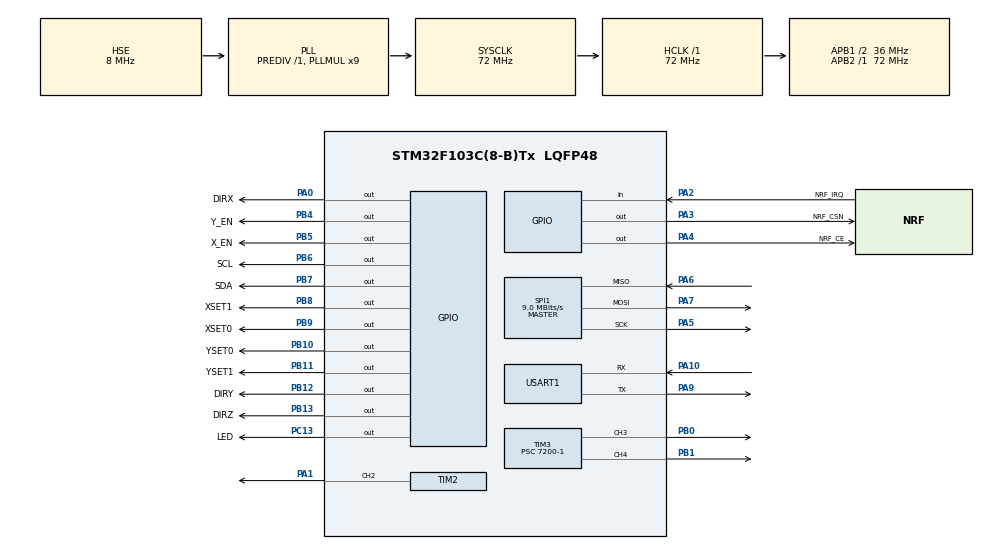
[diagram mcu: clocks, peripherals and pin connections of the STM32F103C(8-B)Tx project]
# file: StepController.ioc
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Dma.Request0=TIM3_CH3
Dma.Request1=TIM2_CH2/CH4
Dma.TIM2_CH2/CH4.1.Direction=DMA_MEMORY_TO_PERIPH
Dma.TIM2_CH2/CH4.1.Instance=DMA1_Channel7
Dma.TIM2_CH2/CH4.1.MemDataAlignment=DMA_MDATAALIGN_HALFWORD
Dma.TIM2_CH2/CH4.1.MemInc=DMA_MINC_ENABLE
Dma.TIM2_CH2/CH4.1.Mode=DMA_NORMAL
Dma.TIM2_CH2/CH4.1.PeriphDataAlignment=DMA_PDATAALIGN_HALFWORD
Dma.TIM2_CH2/CH4.1.PeriphInc=DMA_PINC_DISABLE
Dma.TIM2_CH2/CH4.1.Priority=DMA_PRIORITY_MEDIUM
Dma.TIM3_CH3.0.Direction=DMA_MEMORY_TO_PERIPH
Dma.TIM3_CH3.0.Instance=DMA1_Channel2
Dma.TIM3_CH3.0.MemDataAlignment=DMA_MDATAALIGN_HALFWORD
Dma.TIM3_CH3.0.MemInc=DMA_MINC_ENABLE
Dma.TIM3_CH3.0.Mode=DMA_NORMAL
Dma.TIM3_CH3.0.PeriphDataAlignment=DMA_PDATAALIGN_HALFWORD
Dma.TIM3_CH3.0.PeriphInc=DMA_PINC_DISABLE
Dma.TIM3_CH3.0.Priority=DMA_PRIORITY_MEDIUM
FREERTOS.Tasks01=defaultTask,0,64,StartDefaultTask,Default;myTask02,-3,128,StepControltask,Default;myTask03,-3,128,USARTtask,Default;myTask04,-3,128,NRFTask,Default
FREERTOS.configMINIMAL_STACK_SIZE=64
Mcu.Family=STM32F1
Mcu.Name=STM32F103C(8-B)Tx
Mcu.Package=LQFP48
NVIC.DMA1_Channel2_IRQn=true\:5\:0\:false\:false\:true\:true
NVIC.DMA1_Channel7_IRQn=true\:5\:0\:false\:false\:true\:true
NVIC.PriorityGroup=NVIC_PRIORITYGROUP_4
NVIC.SPI1_IRQn=true\:5\:0\:true\:false\:true\:true
NVIC.TIM1_UP_IRQn=true\:0\:0\:false\:false\:true\:false
NVIC.TIM2_IRQn=true\:5\:0\:true\:false\:true\:true
NVIC.TIM3_IRQn=true\:5\:0\:false\:false\:true\:true
NVIC.TimeBase=TIM1_UP_IRQn
NVIC.TimeBaseIP=TIM1
PA0-WKUP.GPIO_Label=DIRX
PA0-WKUP.Signal=GPIO_Output
PA1.Signal=S_TIM2_CH2
PA10.Mode=Asynchronous
PA10.Signal=USART1_RX
PA13.Mode=Serial_Wire
PA13.Signal=SYS_JTMS-SWDIO
PA14.Mode=Serial_Wire
PA14.Signal=SYS_JTCK-SWCLK
PA2.GPIO_Label=NRF_IRQ
PA2.GPIO_PuPd=GPIO_PULLUP
PA2.Signal=GPIO_Input
PA3.GPIO_Label=NRF_CSN
PA3.GPIO_Speed=GPIO_SPEED_FREQ_HIGH
PA3.PinState=GPIO_PIN_RESET
PA3.Signal=GPIO_Output
PA4.GPIO_Label=NRF_CE
PA4.Signal=GPIO_Output
PA5.Mode=Full_Duplex_Master
PA5.Signal=SPI1_SCK
PA6.Mode=Full_Duplex_Master
PA6.Signal=SPI1_MISO
PA7.Mode=Full_Duplex_Master
PA7.Signal=SPI1_MOSI
PA9.Mode=Asynchronous
PA9.Signal=USART1_TX
PB0.Signal=S_TIM3_CH3
PB1.Signal=S_TIM3_CH4
PB10.GPIO_Label=YSET0
PB10.Signal=GPIO_Output
PB11.GPIO_Label=YSET1
PB11.Signal=GPIO_Output
PB12.GPIO_Label=DIRY
PB12.Signal=GPIO_Output
PB13.GPIO_Label=DIRZ
PB13.Signal=GPIO_Output
PB4.GPIO_Label=Y_EN
PB4.Signal=GPIO_Output
PB5.GPIO_Label=X_EN
PB5.Signal=GPIO_Output
PB6.GPIO_Label=SCL
PB6.GPIO_Speed=GPIO_SPEED_FREQ_HIGH
PB6.PinState=GPIO_PIN_RESET
PB6.Signal=GPIO_Output
PB7.GPIO_Label=SDA
PB7.GPIO_Speed=GPIO_SPEED_FREQ_HIGH
PB7.Signal=GPIO_Output
PB8.GPIO_Label=XSET1
PB8.Signal=GPIO_Output
PB9.GPIO_Label=XSET0
PB9.Signal=GPIO_Output
PC13-TAMPER-RTC.GPIO_Label=LED
PC13-TAMPER-RTC.GPIO_Speed=GPIO_SPEED_FREQ_HIGH
PC13-TAMPER-RTC.Signal=GPIO_Output
PC14-OSC32_IN.Mode=LSE-External-Oscillator
PC14-OSC32_IN.Signal=RCC_OSC32_IN
PC15-OSC32_OUT.Mode=LSE-External-Oscillator
PC15-OSC32_OUT.Signal=RCC_OSC32_OUT
PD0-OSC_IN.Mode=HSE-External-Oscillator
PD0-OSC_IN.Signal=RCC_OSC_IN
PD1-OSC_OUT.Mode=HSE-External-Oscillator
PD1-OSC_OUT.Signal=RCC_OSC_OUT
ProjectManager.HeapSize=0x200
ProjectManager.StackSize=0x400
ProjectManager.TargetToolchain=MDK-ARM V5
RCC.AHBFreq_Value=72000000
RCC.APB1CLKDivider=RCC_HCLK_DIV2
RCC.APB1Freq_Value=36000000
RCC.APB1TimFreq_Value=72000000
RCC.APB2Freq_Value=72000000
RCC.APB2TimFreq_Value=72000000
RCC.HCLKFreq_Value=72000000
RCC.HSIState=RCC_HSI_ON
RCC.PLLMUL=RCC_PLL_MUL9
RCC.PLLSourceVirtual=RCC_PLLSOURCE_HSE
RCC.RCC_MCOSource=RCC_MCO1SOURCE_PLLCLK
RCC.SYSCLKFreq_VALUE=72000000
RCC.SYSCLKSource=RCC_SYSCLKSOURCE_PLLCLK
RCC.USBFreq_Value=72000000
SH.S_TIM2_CH2.0=TIM2_CH2,PWM Generation2 CH2
SH.S_TIM3_CH3.0=TIM3_CH3,PWM Generation3 CH3
SH.S_TIM3_CH4.0=TIM3_CH4,PWM Generation4 CH4
SPI1.BaudRatePrescaler=SPI_BAUDRATEPRESCALER_8
SPI1.CRCCalculation=SPI_CRCCALCULATION_ENABLE
SPI1.CalculateBaudRate=9.0 MBits/s
SPI1.Mode=SPI_MODE_MASTER
TIM2.Channel-PWM\ Generation2\ CH2=TIM_CHANNEL_2
TIM2.Period=2000-1
TIM2.Prescaler=7200-1
TIM2.Pulse-PWM\ Generation2\ CH2=1000
TIM3.Channel-PWM\ Generation3\ CH3=TIM_CHANNEL_3
TIM3.Channel-PWM\ Generation4\ CH4=TIM_CHANNEL_4
TIM3.Period=2000-1
TIM3.Prescaler=7200-1
TIM3.Pulse-PWM\ Generation3\ CH3=1000
TIM3.Pulse-PWM\ Generation4\ CH4=1000
VP_CRC_VS_CRC.Mode=CRC_Activate
VP_FREERTOS_VS_ENABLE.Mode=Enabled
VP_SYS_VS_tim1.Mode=TIM1
board=StepController

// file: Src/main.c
/**
  ******************************************************************************
  * File Name          : main.c
  * Description        : Main program body
  ******************************************************************************
  *
  * COPYRIGHT(c) 2016 STMicroelectronics
  *
  * Redistribution and use in source and binary forms, with or without modification,
  * are permitted provided that the following conditions are met:
  *   1. Redistributions of source code must retain the above copyright notice,
  *      this list of conditions and the following disclaimer.
  *   2. Redistributions in binary form must reproduce the above copyright notice,
  *      this list of conditions and the following disclaimer in the documentation
  *      and/or other materials provided with the distribution.
  *   3. Neither the name of STMicroelectronics nor the names of its contributors
  *      may be used to endorse or promote products derived from this software
  *      without specific prior written permission.
  *
  * THIS SOFTWARE IS PROVIDED BY THE COPYRIGHT HOLDERS AND CONTRIBUTORS "AS IS"
  * AND ANY EXPRESS OR IMPLIED WARRANTIES, INCLUDING, BUT NOT LIMITED TO, THE
  * IMPLIED WARRANTIES OF MERCHANTABILITY AND FITNESS FOR A PARTICULAR PURPOSE ARE
  * DISCLAIMED. IN NO EVENT SHALL THE COPYRIGHT HOLDER OR CONTRIBUTORS BE LIABLE
  * FOR ANY DIRECT, INDIRECT, INCIDENTAL, SPECIAL, EXEMPLARY, OR CONSEQUENTIAL
  * DAMAGES (INCLUDING, BUT NOT LIMITED TO, PROCUREMENT OF SUBSTITUTE GOODS OR
  * SERVICES; LOSS OF USE, DATA, OR PROFITS; OR BUSINESS INTERRUPTION) HOWEVER
  * CAUSED AND ON ANY THEORY OF LIABILITY, WHETHER IN CONTRACT, STRICT LIABILITY,
  * OR TORT (INCLUDING NEGLIGENCE OR OTHERWISE) ARISING IN ANY WAY OUT OF THE USE
  * OF THIS SOFTWARE, EVEN IF ADVISED OF THE POSSIBILITY OF SUCH DAMAGE.
  *
  ******************************************************************************
  */
#include "stm32f1xx_hal.h"
#include "cmsis_os.h"
#include "crc.h"
#include "dma.h"
#include "spi.h"
#include "tim.h"
#include "usart.h"
#include "gpio.h"

/* USER CODE BEGIN Includes */
#include "include.h"
/* USER CODE END Includes */

/* USER CODE BEGIN PV */
/* Private variables ---------------------------------------------------------*/

/* USER CODE END PV */

void SystemClock_Config(void);
void Error_Handler(void);
void MX_FREERTOS_Init(void);

/* USER CODE BEGIN PFP */
/* Private function prototypes -----------------------------------------------*/

/* USER CODE END PFP */

int main(void)
{

  /* MCU Configuration----------------------------------------------------------*/

  /* Reset of all peripherals, Initializes the Flash interface and the Systick. */
  HAL_Init();

  /* Configure the system clock */
  SystemClock_Config();

  /* Initialize all configured peripherals */
  MX_GPIO_Init();
  MX_DMA_Init();
  MX_CRC_Init();
  MX_SPI1_Init();
//	HAL_SPI_MspInit(&hspi1);
  MX_TIM2_Init();
  MX_USART1_UART_Init();
  MX_TIM3_Init();

  /* USER CODE BEGIN 2 */
	bsp_InitNRF();
	bsp_InitDWT();
	bsp_Check();
	USART_SendString("System Start!\r\n");
//	HAL_TIM_PWM_Start(&htim2,TIM_CHANNEL_2);
  /* USER CODE END 2 */

  /* Call init function for freertos objects (in freertos.c) */
  MX_FREERTOS_Init();

  /* Start scheduler */
  osKernelStart();

  /* We should never get here as control is now taken by the scheduler */

  /* Infinite loop */
  while (1)
  {

  }

}

/** System Clock Configuration
*/
void SystemClock_Config(void)
{

  RCC_OscInitTypeDef RCC_OscInitStruct;
  RCC_ClkInitTypeDef RCC_ClkInitStruct;

  RCC_OscInitStruct.OscillatorType = RCC_OSCILLATORTYPE_HSE;
  RCC_OscInitStruct.HSEState = RCC_HSE_ON;
  RCC_OscInitStruct.HSEPredivValue = RCC_HSE_PREDIV_DIV1;
  RCC_OscInitStruct.PLL.PLLState = RCC_PLL_ON;
  RCC_OscInitStruct.PLL.PLLSource = RCC_PLLSOURCE_HSE;
  RCC_OscInitStruct.PLL.PLLMUL = RCC_PLL_MUL9;
  if (HAL_RCC_OscConfig(&RCC_OscInitStruct) != HAL_OK)
  {
    Error_Handler();
  }

  RCC_ClkInitStruct.ClockType = RCC_CLOCKTYPE_HCLK|RCC_CLOCKTYPE_SYSCLK
                              |RCC_CLOCKTYPE_PCLK1|RCC_CLOCKTYPE_PCLK2;
  RCC_ClkInitStruct.SYSCLKSource = RCC_SYSCLKSOURCE_PLLCLK;
  RCC_ClkInitStruct.AHBCLKDivider = RCC_SYSCLK_DIV1;
  RCC_ClkInitStruct.APB1CLKDivider = RCC_HCLK_DIV2;
  RCC_ClkInitStruct.APB2CLKDivider = RCC_HCLK_DIV1;
  if (HAL_RCC_ClockConfig(&RCC_ClkInitStruct, FLASH_LATENCY_2) != HAL_OK)
  {
    Error_Handler();
  }

  HAL_SYSTICK_Config(HAL_RCC_GetHCLKFreq()/1000);

  HAL_SYSTICK_CLKSourceConfig(SYSTICK_CLKSOURCE_HCLK);

  /* SysTick_IRQn interrupt configuration */
  HAL_NVIC_SetPriority(SysTick_IRQn, 15, 0);
}

void HAL_TIM_PeriodElapsedCallback(TIM_HandleTypeDef *htim)
{
  if (htim->Instance == TIM1) {
    HAL_IncTick();
  }
}

void Error_Handler(void)
{
  while(1)
  {
  }
}

/************************ (C) COPYRIGHT STMicroelectronics *****END OF FILE****/

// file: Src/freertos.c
/**
  ******************************************************************************
  * File Name          : freertos.c
  * Description        : Code for freertos applications
  ******************************************************************************
  *
  * COPYRIGHT(c) 2016 STMicroelectronics
  *
  * Redistribution and use in source and binary forms, with or without modification,
  * are permitted provided that the following conditions are met:
  *   1. Redistributions of source code must retain the above copyright notice,
  *      this list of conditions and the following disclaimer.
  *   2. Redistributions in binary form must reproduce the above copyright notice,
  *      this list of conditions and the following disclaimer in the documentation
  *      and/or other materials provided with the distribution.
  *   3. Neither the name of STMicroelectronics nor the names of its contributors
  *      may be used to endorse or promote products derived from this software
  *      without specific prior written permission.
  *
  * THIS SOFTWARE IS PROVIDED BY THE COPYRIGHT HOLDERS AND CONTRIBUTORS "AS IS"
  * AND ANY EXPRESS OR IMPLIED WARRANTIES, INCLUDING, BUT NOT LIMITED TO, THE
  * IMPLIED WARRANTIES OF MERCHANTABILITY AND FITNESS FOR A PARTICULAR PURPOSE ARE
  * DISCLAIMED. IN NO EVENT SHALL THE COPYRIGHT HOLDER OR CONTRIBUTORS BE LIABLE
  * FOR ANY DIRECT, INDIRECT, INCIDENTAL, SPECIAL, EXEMPLARY, OR CONSEQUENTIAL
  * DAMAGES (INCLUDING, BUT NOT LIMITED TO, PROCUREMENT OF SUBSTITUTE GOODS OR
  * SERVICES; LOSS OF USE, DATA, OR PROFITS; OR BUSINESS INTERRUPTION) HOWEVER
  * CAUSED AND ON ANY THEORY OF LIABILITY, WHETHER IN CONTRACT, STRICT LIABILITY,
  * OR TORT (INCLUDING NEGLIGENCE OR OTHERWISE) ARISING IN ANY WAY OUT OF THE USE
  * OF THIS SOFTWARE, EVEN IF ADVISED OF THE POSSIBILITY OF SUCH DAMAGE.
  *
  ******************************************************************************
  */

#include "FreeRTOS.h"
#include "task.h"
#include "cmsis_os.h"

/* USER CODE BEGIN Includes */
#include "include.h"
/* USER CODE END Includes */

osThreadId defaultTaskHandle;
osThreadId myTask02Handle;
osThreadId myTask03Handle;
osThreadId myTask04Handle;

/* USER CODE BEGIN Variables */
static SemaphoreHandle_t  xMutex = NULL;
/* USER CODE END Variables */

void StartDefaultTask(void const * argument);
void StepControltask(void const * argument);
void USARTtask(void const * argument);
void NRFTask(void const * argument);

void MX_FREERTOS_Init(void); /* (MISRA C 2004 rule 8.1) */

/* USER CODE BEGIN FunctionPrototypes */
void USART_SendData(void const * argument, ...);
void AppObjCreate (void);
/* USER CODE END FunctionPrototypes */

/* Hook prototypes */

/* Init FreeRTOS */

void MX_FREERTOS_Init(void) {

  /* Create the thread(s) */
  /* definition and creation of defaultTask */
  osThreadDef(defaultTask, StartDefaultTask, osPriorityNormal, 0, 64);
  defaultTaskHandle = osThreadCreate(osThread(defaultTask), NULL);

  /* definition and creation of myTask02 */
  osThreadDef(myTask02, StepControltask, osPriorityIdle, 0, 128);
  myTask02Handle = osThreadCreate(osThread(myTask02), NULL);

  /* definition and creation of myTask03 */
  osThreadDef(myTask03, USARTtask, osPriorityIdle, 0, 128);
  myTask03Handle = osThreadCreate(osThread(myTask03), NULL);

  /* definition and creation of myTask04 */
  osThreadDef(myTask04, NRFTask, osPriorityIdle, 0, 128);
  myTask04Handle = osThreadCreate(osThread(myTask04), NULL);

}

/* StartDefaultTask function */
void StartDefaultTask(void const * argument)
{

  /* USER CODE BEGIN StartDefaultTask */
  /* Infinite loop */
  for(;;)
  {
		HAL_GPIO_TogglePin(LED_GPIO_Port,LED_Pin);
		bsp_DelayUS(200);
    osDelay(1000);
  }
  /* USER CODE END StartDefaultTask */
}

/* StepControltask function */
void StepControltask(void const * argument)
{
  for(;;)
  {
    osDelay(1);
  }
}

/* USARTtask function */
void USARTtask(void const * argument)
{
  for(;;)
  {
    osDelay(1);
  }
}

/* NRFTask function */
void NRFTask(void const * argument)
{
  for(;;)
  {
    osDelay(1);
  }
}

/* USER CODE BEGIN Application */

void AppObjCreate (void)
{
		/* 创建互斥信号量 */
    xMutex = xSemaphoreCreateMutex();

	if(xMutex == NULL)
    {
      /* 没有创建成功，在这里加入创建失败的处理机制 */
			USART_SendData("xMutex Create Failed!\r\n\0");
    }
}

/* USART_SendData function */
void USART_SendData(void const * argument, ...)
{
  /* USER CODE BEGIN USART_SendData */
  /* Infinite loop */
    char  buf_str[200];

		sprintf(buf_str,"%s\r\n",argument);

		xSemaphoreTake(xMutex, portMAX_DELAY);

    HAL_UART_Transmit(&huart1,(uint8_t*)buf_str,strlen(buf_str),300);

   	xSemaphoreGive(xMutex);
  /* USER CODE END USART_SendData */
}
/* USER CODE END Application */

/************************ (C) COPYRIGHT STMicroelectronics *****END OF FILE****/
